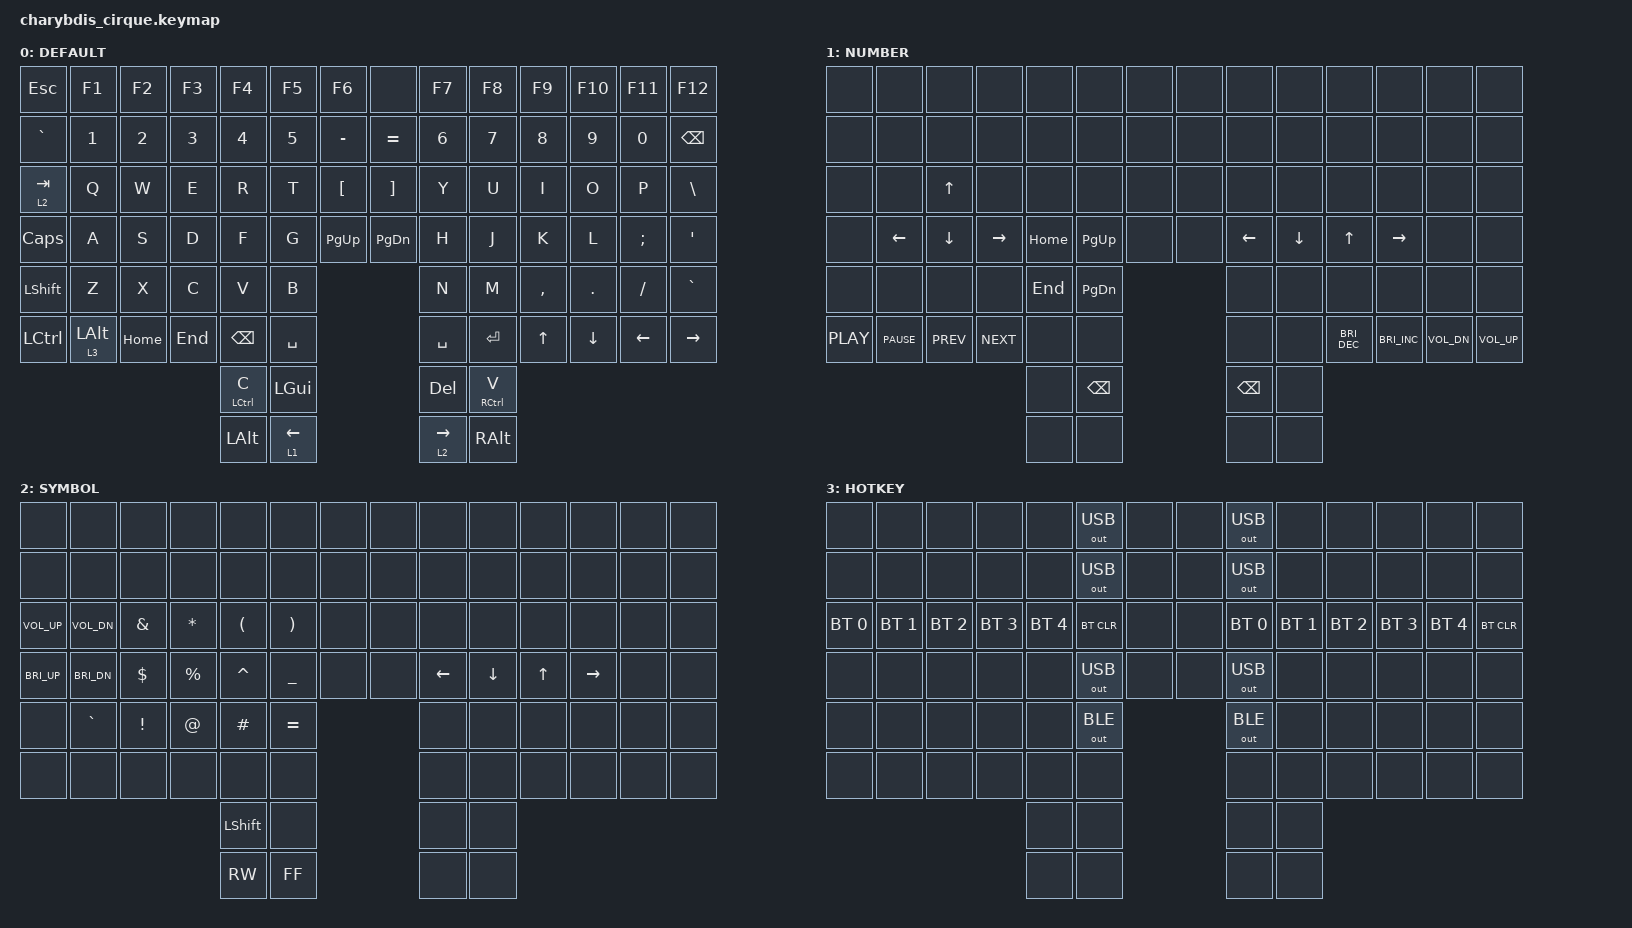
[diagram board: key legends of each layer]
#include <behaviors.dtsi>
#include <dt-bindings/zmk/mouse.h>
#include <dt-bindings/zmk/keys.h>
#include <dt-bindings/zmk/bt.h>
#include <dt-bindings/zmk/outputs.h>



#define DEFAULT 0
#define NUMBER  1
#define SYMBOL  2
#define HOTKEY  3
#define AS(keycode) &as LS(keycode) keycode

/ {
      



    keymap {
       compatible = "zmk,keymap";
       default_layer {
            label = "DEFAULT";
            bindings = <
&kp ESC        &kp F1         &kp F2        &kp F3        &kp F4        &kp F5        &kp F6            &none        &kp F7        &kp F8        &kp F9        &kp F10         &kp F11        &kp F12
&kp GRAVE      &kp N1        &kp N2        &kp N3        &kp N4        &kp N5        &kp MINUS          &kp EQUAL       &kp N6        &kp N7        &kp N8        &kp N9          &kp N0         &kp BSPC
&lt 2 TAB      &kp Q         &kp W         &kp E         &kp R         &kp T         &kp LBKT           &kp RBKT        &kp Y         &kp U         &kp I         &kp O           &kp P          &kp BSLH
&kp CLCK       &kp A         &kp S         &kp D         &kp F         &kp G         &kp PG_UP          &kp PG_DN       &kp H         &kp J         &kp K         &kp L           &kp SEMI       &kp SQT
&kp LSHIFT     &kp Z         &kp X         &kp C         &kp V         &kp B                                            &kp N         &kp M         &kp COMMA     &kp DOT         &kp FSLH       &kp GRAVE
&kp LCTRL      &lt 3 LALT     &kp HOME      &kp END      &kp BSPC       &kp SPACE                                       &kp SPACE     &kp ENTER     &kp UP        &kp DOWN        &kp LEFT       &kp RIGHT
                                                         &mt LCTRL C    &kp LGUI                                        &kp DEL     &mt RCTRL V      
                                                         &kp LALT       &lt 1 LEFT                                      &lt 2 RIGHT     &kp RALT
            >;
        };  


          number_layer {
            label = "NUMBER";
            bindings = <
&none          &none         &none         &none          &none         &none        &none                  &none            &none         &none         &none         &none           &none         &none
&none          &none         &none         &none          &none         &none        &none                  &none            &none         &none         &none         &none           &none         &none
&none          &none         &kp UP        &none          &none         &none        &none                  &none            &none         &none         &none         &none           &none         &none
&none          &kp LEFT      &kp DOWN      &kp RIGHT      &kp HOME      &kp PG_UP    &none                  &none            &kp LEFT      &kp DOWN      &kp UP        &kp RIGHT       &none          &none
&none          &none         &none         &none          &kp END       &kp PG_DN                                            &none         &none         &none         &none           &none          &none
&kp C_PLAY     &kp C_PAUSE   &kp C_PREV    &kp C_NEXT     &none         &none                                                &none         &none         &kp C_BRI_DEC &kp C_BRI_INC   &kp C_VOL_DN   &kp C_VOL_UP 
                                                        &none     &kp BSPC                                                   &kp BSPC   &none
                                                          &none     &none                                                    &none      &none  
            >;
        };

        symbol_layer {
            label = "SYMBOL";
            bindings = <
             &none         &none         &none     &none     &none     &none       &none &none   &none     &none     &none     &none      &none     &none
             &none         &none         &none     &none     &none     &none       &none &none   &none     &none     &none     &none      &none     &none
             &kp C_VOL_UP  &kp C_VOL_DN  &kp AMPS  &kp STAR  &kp LPAR  &kp RPAR    &none &none   &none     &none     &none     &none      &none     &none
             &kp C_BRI_UP  &kp C_BRI_DN  &kp DLLR  &kp PRCNT &kp CARET &kp UNDER   &none &none   &kp LEFT  &kp DOWN  &kp UP    &kp RIGHT  &none     &none
             &none         &kp GRAVE     &kp EXCL  &kp AT    &kp HASH  &kp EQUAL                 &none     &none     &none     &none      &none     &none
             &none          &none        &none     &none     &none     &none                     &none     &none    &none     &none     &none     &none
                                                                   &kp LSHFT &none               &none     &none       
                                                                   &kp C_RW  &kp C_FF            &none     &none 
         >;
        };


        hotkey_layer {
            label = "HOTKEY";
            bindings = <
 &none        &none        &none        &none        &none        &out OUT_USB    &none &none       &out OUT_USB &none        &none        &none        &none        &none
 &none        &none        &none        &none        &none        &out OUT_USB    &none &none       &out OUT_USB &none        &none        &none        &none        &none
 &bt BT_SEL 0 &bt BT_SEL 1 &bt BT_SEL 2 &bt BT_SEL 3 &bt BT_SEL 4 &bt BT_CLR      &none &none       &bt BT_SEL 0 &bt BT_SEL 1 &bt BT_SEL 2 &bt BT_SEL 3 &bt BT_SEL 4 &bt BT_CLR
 &none        &none        &none        &none        &none        &out OUT_USB    &none &none       &out OUT_USB &none        &none        &none        &none        &none
 &none        &none        &none        &none        &none        &out OUT_BLE                      &out OUT_BLE &none        &none        &none        &none        &none
 &none        &none        &none        &none        &none     &none                                &none        &none      &none        &none        &none        &none
                                                      &none     &none                               &none     &none       
                                                      &none     &none                               &none     &none                                                
            >;
        };
        
        
        
   };
};
